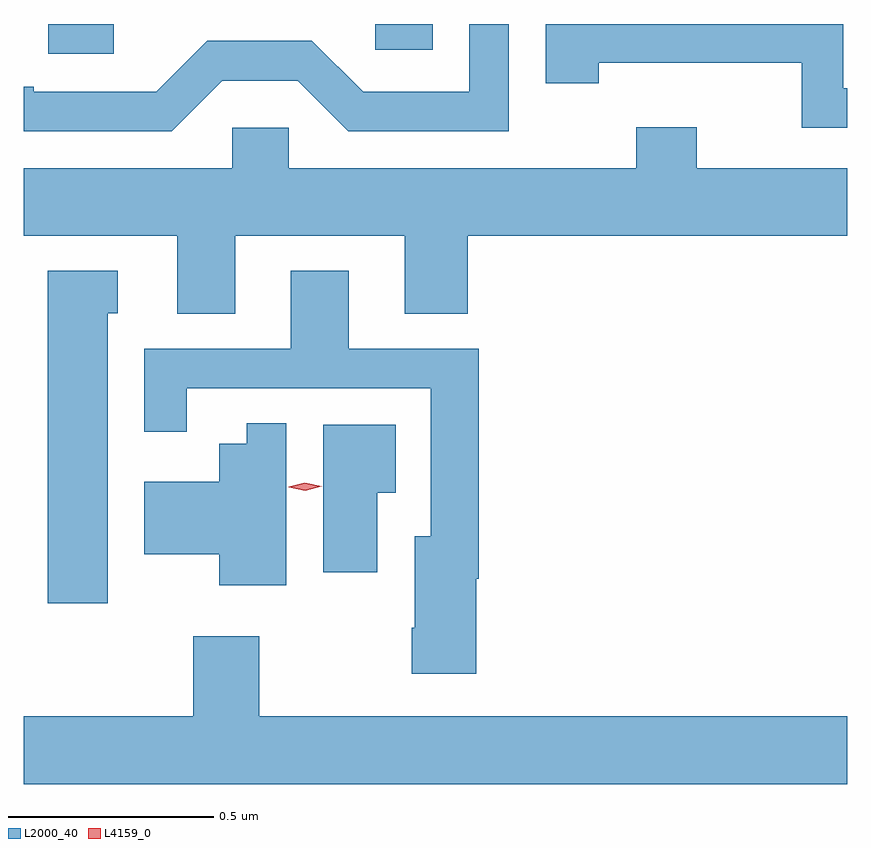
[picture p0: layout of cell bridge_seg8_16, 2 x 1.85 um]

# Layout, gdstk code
import gdstk
lib = gdstk.Library(unit=1e-6, precision=1e-09)
def R(c, l, rs):  # rectangles x0, y0, x1, y1
    for r in rs: c.add(gdstk.rectangle(r[:2], r[2:], *l))
def P(c, l, *ps):  # polygons
    for p in ps: c.add(gdstk.Polygon(p, *l))
L2000_40 = (2000, 40)
L4159_0 = (4159, 0)

bridge_seg8_16 = lib.new_cell('bridge_seg8_16')
R(bridge_seg8_16, L2000_40, [(909.051,1160.898,909.21,1160.97), (909.846,1160.907,909.985,1160.97)])
P(bridge_seg8_16, L2000_40, [(909.474,1160.832),(909.657,1160.832),(909.78,1160.709),(910.17,1160.709),(910.17,1160.97),(910.074,1160.97),(910.074,1160.805),(909.816,1160.805),(909.692,1160.929),(909.438,1160.929),(909.314,1160.805),(909.016,1160.805),(909.016,1160.818),(908.992,1160.818),(908.992,1160.709),(909.351,1160.709)],
  [(910.992,1160.814),(910.983,1160.814),(910.983,1160.97),(910.26,1160.97),(910.26,1160.826),(910.388,1160.826),(910.388,1160.876),(910.882,1160.876),(910.882,1160.718),(910.992,1160.718)],
  [(909.505,1160.456),(909.917,1160.456),(909.917,1160.266),(910.07,1160.266),(910.07,1160.456),(910.992,1160.456),(910.992,1160.62),(910.627,1160.62),(910.627,1160.719),(910.48,1160.719),(910.48,1160.62),(909.636,1160.62),(909.636,1160.718),(909.498,1160.718),(909.498,1160.62),(908.992,1160.62),(908.992,1160.456),(909.365,1160.456),(909.365,1160.266),(909.505,1160.266)],
  [(909.196,1160.268),(909.22,1160.268),(909.22,1160.371),(909.05,1160.371),(909.05,1159.563),(909.196,1159.563)],
  [(910.091,1159.622),(910.097,1159.622),(910.097,1160.181),(909.781,1160.181),(909.781,1160.371),(909.641,1160.371),(909.641,1160.181),(909.284,1160.181),(909.284,1159.98),(909.388,1159.98),(909.388,1160.085),(909.981,1160.085),(909.981,1159.726),(909.941,1159.726),(909.941,1159.504),(909.934,1159.504),(909.934,1159.392),(910.091,1159.392)],
  [(909.63,1160),(909.533,1160),(909.533,1159.951),(909.467,1159.951),(909.467,1159.858),(909.284,1159.858),(909.284,1159.682),(909.467,1159.682),(909.467,1159.607),(909.63,1159.607)],
  [(909.85,1159.832),(909.896,1159.832),(909.896,1159.996),(909.719,1159.996),(909.719,1159.638),(909.85,1159.638)],
  [(910.992,1159.288),(909.564,1159.288),(909.564,1159.483),(909.404,1159.483),(909.404,1159.288),(908.992,1159.288),(908.992,1159.124),(910.992,1159.124)])
P(bridge_seg8_16, L4159_0, [(909.676,1159.836),(909.635,1159.845),(909.635,1159.846),(909.635,1159.846),(909.675,1159.856),(909.716,1159.847),(909.716,1159.847),(909.716,1159.847)])

lib.write_gds('bridge_seg8_16.gds')
